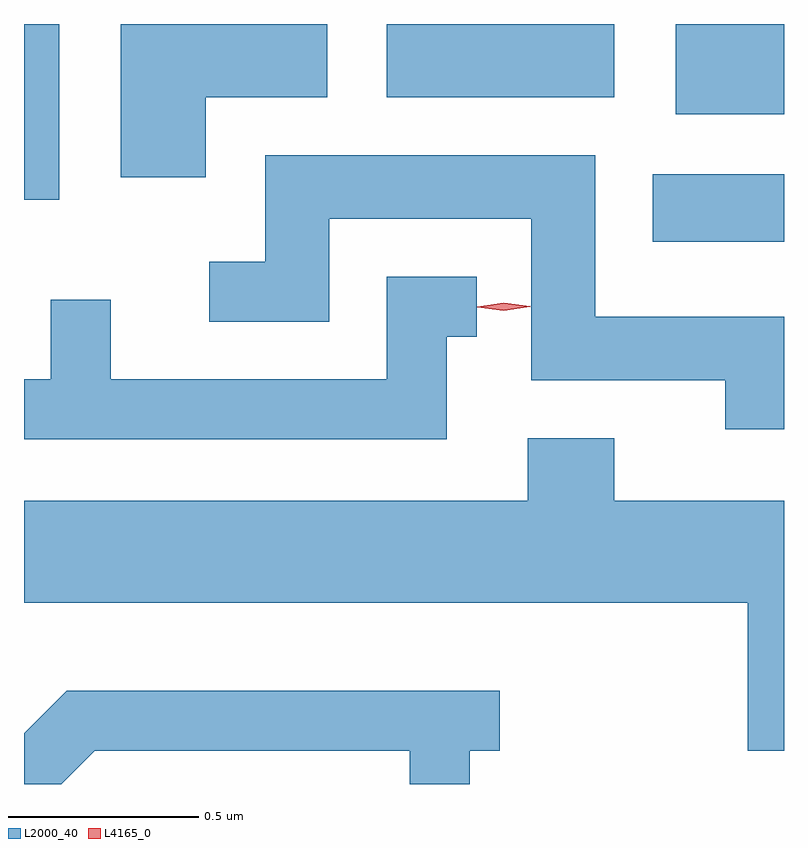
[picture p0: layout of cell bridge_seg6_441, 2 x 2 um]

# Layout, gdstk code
import gdstk
lib = gdstk.Library(unit=1e-6, precision=1e-09)
def R(c, l, rs):  # rectangles x0, y0, x1, y1
    for r in rs: c.add(gdstk.rectangle(r[:2], r[2:], *l))
def P(c, l, *ps):  # polygons
    for p in ps: c.add(gdstk.Polygon(p, *l))
L2000_40 = (2000, 40)
L4165_0 = (4165, 0)

bridge_seg6_441 = lib.new_cell('bridge_seg6_441')
R(bridge_seg6_441, L2000_40, [(897.181,1608.706,897.526,1608.884), (895.526,1608.816,895.619,1609.279), (897.241,1609.041,897.526,1609.279), (896.481,1609.086,897.079,1609.279)])
P(bridge_seg6_441, L2000_40, [(896.004,1609.086),(896.324,1609.086),(896.324,1609.279),(895.781,1609.279),(895.781,1608.876),(896.004,1608.876)],
  [(897.526,1608.509),(897.029,1608.509),(897.029,1608.934),(896.161,1608.934),(896.161,1608.654),(896.013,1608.654),(896.013,1608.496),(896.329,1608.496),(896.329,1608.766),(896.861,1608.766),(896.861,1608.341),(897.371,1608.341),(897.371,1608.213),(897.526,1608.213)],
  [(896.639,1608.456),(896.718,1608.456),(896.718,1608.614),(896.481,1608.614),(896.481,1608.344),(895.754,1608.344),(895.754,1608.553),(895.596,1608.553),(895.596,1608.344),(895.526,1608.344),(895.526,1608.186),(896.639,1608.186)],
  [(897.526,1608.024),(897.079,1608.024),(897.079,1608.189),(896.851,1608.189),(896.851,1608.024),(895.526,1608.024),(895.526,1607.756),(897.431,1607.756),(897.431,1607.366),(897.526,1607.366)],
  [(895.712,1607.366),(896.541,1607.366),(896.541,1607.279),(896.699,1607.279),(896.699,1607.366),(896.778,1607.366),(896.778,1607.524),(895.639,1607.524),(895.526,1607.412),(895.526,1607.279),(895.624,1607.279)])
P(bridge_seg6_441, L4165_0, [(896.788,1608.525),(896.719,1608.534),(896.719,1608.535),(896.719,1608.535),(896.788,1608.545),(896.858,1608.536),(896.858,1608.535),(896.858,1608.535)])

lib.write_gds('bridge_seg6_441.gds')
